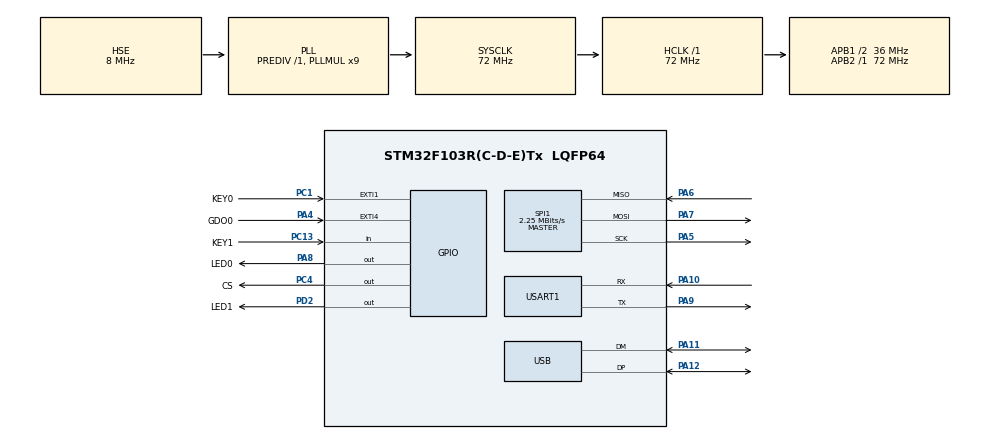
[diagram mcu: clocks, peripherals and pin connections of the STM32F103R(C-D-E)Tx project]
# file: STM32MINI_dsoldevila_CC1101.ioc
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Mcu.Family=STM32F1
Mcu.Name=STM32F103R(C-D-E)Tx
Mcu.Package=LQFP64
NVIC.EXTI4_IRQn=true\:0\:0\:false\:false\:true\:true\:true\:true
NVIC.PriorityGroup=NVIC_PRIORITYGROUP_4
NVIC.USB_LP_CAN1_RX0_IRQn=true\:0\:0\:false\:false\:true\:false\:true\:true
PA10.Mode=Asynchronous
PA10.Signal=USART1_RX
PA11.Mode=Device
PA11.Signal=USB_DM
PA12.Mode=Device
PA12.Signal=USB_DP
PA13.Mode=Serial_Wire
PA13.Signal=SYS_JTMS-SWDIO
PA14.Mode=Serial_Wire
PA14.Signal=SYS_JTCK-SWCLK
PA4.GPIO_Label=GDO0
PA4.GPIO_ModeDefaultEXTI=GPIO_MODE_IT_FALLING
PA4.Signal=GPXTI4
PA5.Mode=Full_Duplex_Master
PA5.Signal=SPI1_SCK
PA6.Mode=Full_Duplex_Master
PA6.Signal=SPI1_MISO
PA7.Mode=Full_Duplex_Master
PA7.Signal=SPI1_MOSI
PA8.GPIO_Label=LED0
PA8.Signal=GPIO_Output
PA9.Mode=Asynchronous
PA9.Signal=USART1_TX
PC1.GPIO_Label=KEY0
PC1.Signal=GPXTI1
PC13-TAMPER-RTC.GPIO_Label=KEY1
PC13-TAMPER-RTC.Signal=GPIO_Input
PC14-OSC32_IN.Mode=LSE-External-Oscillator
PC14-OSC32_IN.Signal=RCC_OSC32_IN
PC15-OSC32_OUT.Mode=LSE-External-Oscillator
PC15-OSC32_OUT.Signal=RCC_OSC32_OUT
PC4.GPIO_Label=CS
PC4.Signal=GPIO_Output
PD0-OSC_IN.Mode=HSE-External-Oscillator
PD0-OSC_IN.Signal=RCC_OSC_IN
PD1-OSC_OUT.Mode=HSE-External-Oscillator
PD1-OSC_OUT.Signal=RCC_OSC_OUT
PD2.GPIO_Label=LED1
PD2.Signal=GPIO_Output
ProjectManager.HeapSize=0x200
ProjectManager.StackSize=0x400
ProjectManager.TargetToolchain=STM32CubeIDE
RCC.AHBFreq_Value=72000000
RCC.APB1CLKDivider=RCC_HCLK_DIV2
RCC.APB1Freq_Value=36000000
RCC.APB1TimFreq_Value=72000000
RCC.APB2Freq_Value=72000000
RCC.APB2TimFreq_Value=72000000
RCC.HCLKFreq_Value=72000000
RCC.PLLMUL=RCC_PLL_MUL9
RCC.SYSCLKFreq_VALUE=72000000
RCC.SYSCLKSource=RCC_SYSCLKSOURCE_PLLCLK
RCC.USBFreq_Value=48000000
RCC.USBPrescaler=RCC_USBCLKSOURCE_PLL_DIV1_5
SPI1.BaudRatePrescaler=SPI_BAUDRATEPRESCALER_32
SPI1.CalculateBaudRate=2.25 MBits/s
SPI1.Direction=SPI_DIRECTION_2LINES
SPI1.Mode=SPI_MODE_MASTER
SPI1.VirtualType=VM_MASTER
USART1.VirtualMode=VM_ASYNC
USB_DEVICE.CLASS_NAME_FS=CDC
USB_DEVICE.VirtualMode=Cdc
USB_DEVICE.VirtualModeFS=Cdc_FS
VP_USB_DEVICE_VS_USB_DEVICE_CDC_FS.Mode=CDC_FS
board=custom

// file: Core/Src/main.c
/* USER CODE BEGIN Header */
/**
 ******************************************************************************
 * @file           : main.c
 * @brief          : Main program body
 ******************************************************************************
 * @attention
 *
 * Copyright (c) 2025 STMicroelectronics.
 * All rights reserved.
 *
 * This software is licensed under terms that can be found in the LICENSE file
 * in the root directory of this software component.
 * If no LICENSE file comes with this software, it is provided AS-IS.
 *
 ******************************************************************************
 */
/* USER CODE END Header */
#include "main.h"
#include "usb_device.h"

/* USER CODE BEGIN Includes */
#include "usbd_cdc_if.h"
#include <string.h> // Ensure this is included for strlen()
#include "cc1101_rf.h"
/* USER CODE END Includes */

SPI_HandleTypeDef hspi1;

UART_HandleTypeDef huart1;

void SystemClock_Config(void);
static void MX_GPIO_Init(void);
static void MX_SPI1_Init(void);
static void MX_USART1_UART_Init(void);

int main(void) {

	/* MCU Configuration--------------------------------------------------------*/

	/* Reset of all peripherals, Initializes the Flash interface and the Systick. */
	HAL_Init();

	/* Configure the system clock */
	SystemClock_Config();

	/* Initialize all configured peripherals */
	MX_GPIO_Init();
	MX_USB_DEVICE_Init();
	MX_SPI1_Init();
	MX_USART1_UART_Init();
	/* USER CODE BEGIN 2 */
	init_serial(&huart1);
	printf("###########4\n\r");

	//Init rf driver
	rf_begin(&hspi1, GFSK_1_2_kb, MHz434, CS_GPIO_Port, CS_Pin, GDO0_Pin);
	//rf_set_carrier_offset(0x4b);
	//check if idle
	rf_sidle();
	uint8_t result = rf_read_register(MARCSTATE);
	printf("rresult %#02x (Should be 0x01)\n\r", result);

//	rf_set_carrier_frequency(433.98);
//	rf_set_carrier_offset(50);
	/* USER CODE END 2 */

	/* Infinite loop */
	/* USER CODE BEGIN WHILE */
	uint8_t crc;
	uint16_t len = 200;
	uint8_t buffer[len];
	uint8_t lqi;
	uint8_t rssi;
	rf_receive();
	while (1) {
		if (rf_incoming_packet()) {
			printf("PACKET FOUND\n\r");
			len = (1 << 16) - 1;
			crc = receive_frame(buffer, &len, 0, 16, &lqi, &rssi);
			if (crc) {
				HAL_GPIO_TogglePin(LED1_GPIO_Port, LED1_Pin);
				printf("%d CRC OK\n\r", len);
			} else {
				printf("%d BAD CRC OK\n\r", len);
			}
			buffer[0] = ' ';
			buffer[1] = ' ';
			printf("%s\n\r", buffer);
			rf_write_strobe(SFRX);
			//printf("CRC: %d, LQI: %d, RSSI: %d, LEN: %d\n\r", crc, lqi, rssi, len);
			rf_receive();
		}
		HAL_GPIO_TogglePin(LED0_GPIO_Port, LED0_Pin);
//		HAL_Delay(100);
		/* USER CODE END WHILE */

	}
}

void SystemClock_Config(void) {
	RCC_OscInitTypeDef RCC_OscInitStruct = { 0 };
	RCC_ClkInitTypeDef RCC_ClkInitStruct = { 0 };
	RCC_PeriphCLKInitTypeDef PeriphClkInit = { 0 };

	/** Initializes the RCC Oscillators according to the specified parameters
	 * in the RCC_OscInitTypeDef structure.
	 */
	RCC_OscInitStruct.OscillatorType = RCC_OSCILLATORTYPE_HSE;
	RCC_OscInitStruct.HSEState = RCC_HSE_ON;
	RCC_OscInitStruct.HSEPredivValue = RCC_HSE_PREDIV_DIV1;
	RCC_OscInitStruct.HSIState = RCC_HSI_ON;
	RCC_OscInitStruct.PLL.PLLState = RCC_PLL_ON;
	RCC_OscInitStruct.PLL.PLLSource = RCC_PLLSOURCE_HSE;
	RCC_OscInitStruct.PLL.PLLMUL = RCC_PLL_MUL9;
	if (HAL_RCC_OscConfig(&RCC_OscInitStruct) != HAL_OK) {
		Error_Handler();
	}

	/** Initializes the CPU, AHB and APB buses clocks
	 */
	RCC_ClkInitStruct.ClockType = RCC_CLOCKTYPE_HCLK | RCC_CLOCKTYPE_SYSCLK
			| RCC_CLOCKTYPE_PCLK1 | RCC_CLOCKTYPE_PCLK2;
	RCC_ClkInitStruct.SYSCLKSource = RCC_SYSCLKSOURCE_PLLCLK;
	RCC_ClkInitStruct.AHBCLKDivider = RCC_SYSCLK_DIV1;
	RCC_ClkInitStruct.APB1CLKDivider = RCC_HCLK_DIV2;
	RCC_ClkInitStruct.APB2CLKDivider = RCC_HCLK_DIV1;

	if (HAL_RCC_ClockConfig(&RCC_ClkInitStruct, FLASH_LATENCY_2) != HAL_OK) {
		Error_Handler();
	}
	PeriphClkInit.PeriphClockSelection = RCC_PERIPHCLK_USB;
	PeriphClkInit.UsbClockSelection = RCC_USBCLKSOURCE_PLL_DIV1_5;
	if (HAL_RCCEx_PeriphCLKConfig(&PeriphClkInit) != HAL_OK) {
		Error_Handler();
	}
}

static void MX_SPI1_Init(void) {

	/* SPI1 parameter configuration*/
	hspi1.Instance = SPI1;
	hspi1.Init.Mode = SPI_MODE_MASTER;
	hspi1.Init.Direction = SPI_DIRECTION_2LINES;
	hspi1.Init.DataSize = SPI_DATASIZE_8BIT;
	hspi1.Init.CLKPolarity = SPI_POLARITY_LOW;
	hspi1.Init.CLKPhase = SPI_PHASE_1EDGE;
	hspi1.Init.NSS = SPI_NSS_SOFT;
	hspi1.Init.BaudRatePrescaler = SPI_BAUDRATEPRESCALER_32;
	hspi1.Init.FirstBit = SPI_FIRSTBIT_MSB;
	hspi1.Init.TIMode = SPI_TIMODE_DISABLE;
	hspi1.Init.CRCCalculation = SPI_CRCCALCULATION_DISABLE;
	hspi1.Init.CRCPolynomial = 10;
	if (HAL_SPI_Init(&hspi1) != HAL_OK) {
		Error_Handler();
	}

}

static void MX_USART1_UART_Init(void) {

	huart1.Instance = USART1;
	huart1.Init.BaudRate = 115200;
	huart1.Init.WordLength = UART_WORDLENGTH_8B;
	huart1.Init.StopBits = UART_STOPBITS_1;
	huart1.Init.Parity = UART_PARITY_NONE;
	huart1.Init.Mode = UART_MODE_TX_RX;
	huart1.Init.HwFlowCtl = UART_HWCONTROL_NONE;
	huart1.Init.OverSampling = UART_OVERSAMPLING_16;
	if (HAL_UART_Init(&huart1) != HAL_OK) {
		Error_Handler();
	}

}

static void MX_GPIO_Init(void) {
	GPIO_InitTypeDef GPIO_InitStruct = { 0 };

	/* GPIO Ports Clock Enable */
	__HAL_RCC_GPIOC_CLK_ENABLE();
	__HAL_RCC_GPIOD_CLK_ENABLE();
	__HAL_RCC_GPIOA_CLK_ENABLE();

	/*Configure GPIO pin Output Level */
	HAL_GPIO_WritePin(CS_GPIO_Port, CS_Pin, GPIO_PIN_RESET);

	/*Configure GPIO pin Output Level */
	HAL_GPIO_WritePin(LED0_GPIO_Port, LED0_Pin, GPIO_PIN_RESET);

	/*Configure GPIO pin Output Level */
	HAL_GPIO_WritePin(LED1_GPIO_Port, LED1_Pin, GPIO_PIN_RESET);

	/*Configure GPIO pin : KEY1_Pin */
	GPIO_InitStruct.Pin = KEY1_Pin;
	GPIO_InitStruct.Mode = GPIO_MODE_INPUT;
	GPIO_InitStruct.Pull = GPIO_NOPULL;
	HAL_GPIO_Init(KEY1_GPIO_Port, &GPIO_InitStruct);

	/*Configure GPIO pin : KEY0_Pin */
	GPIO_InitStruct.Pin = KEY0_Pin;
	GPIO_InitStruct.Mode = GPIO_MODE_IT_RISING;
	GPIO_InitStruct.Pull = GPIO_NOPULL;
	HAL_GPIO_Init(KEY0_GPIO_Port, &GPIO_InitStruct);

	/*Configure GPIO pin : GDO0_Pin */
	GPIO_InitStruct.Pin = GDO0_Pin;
	GPIO_InitStruct.Mode = GPIO_MODE_IT_FALLING;
	GPIO_InitStruct.Pull = GPIO_NOPULL;
	HAL_GPIO_Init(GDO0_GPIO_Port, &GPIO_InitStruct);

	/*Configure GPIO pin : CS_Pin */
	GPIO_InitStruct.Pin = CS_Pin;
	GPIO_InitStruct.Mode = GPIO_MODE_OUTPUT_PP;
	GPIO_InitStruct.Pull = GPIO_NOPULL;
	GPIO_InitStruct.Speed = GPIO_SPEED_FREQ_LOW;
	HAL_GPIO_Init(CS_GPIO_Port, &GPIO_InitStruct);

	/*Configure GPIO pin : LED0_Pin */
	GPIO_InitStruct.Pin = LED0_Pin;
	GPIO_InitStruct.Mode = GPIO_MODE_OUTPUT_PP;
	GPIO_InitStruct.Pull = GPIO_NOPULL;
	GPIO_InitStruct.Speed = GPIO_SPEED_FREQ_LOW;
	HAL_GPIO_Init(LED0_GPIO_Port, &GPIO_InitStruct);

	/*Configure GPIO pin : LED1_Pin */
	GPIO_InitStruct.Pin = LED1_Pin;
	GPIO_InitStruct.Mode = GPIO_MODE_OUTPUT_PP;
	GPIO_InitStruct.Pull = GPIO_NOPULL;
	GPIO_InitStruct.Speed = GPIO_SPEED_FREQ_LOW;
	HAL_GPIO_Init(LED1_GPIO_Port, &GPIO_InitStruct);

	/* EXTI interrupt init*/
	HAL_NVIC_SetPriority(EXTI4_IRQn, 0, 0);
	HAL_NVIC_EnableIRQ(EXTI4_IRQn);

}

/* USER CODE BEGIN 4 */
/* Send a char through ITM */
int _write(int file, char *ptr, int len) {
	int DataIdx;
	CDC_Transmit_FS((uint8_t*) ptr, len);	 // do not work in debug mode
	for (DataIdx = 0; DataIdx < len; DataIdx++) {
		ITM_SendChar(*ptr++);
	}
	return len;
}
/* USER CODE END 4 */

void Error_Handler(void) {
	__disable_irq();
	while (1) {
	}
}
